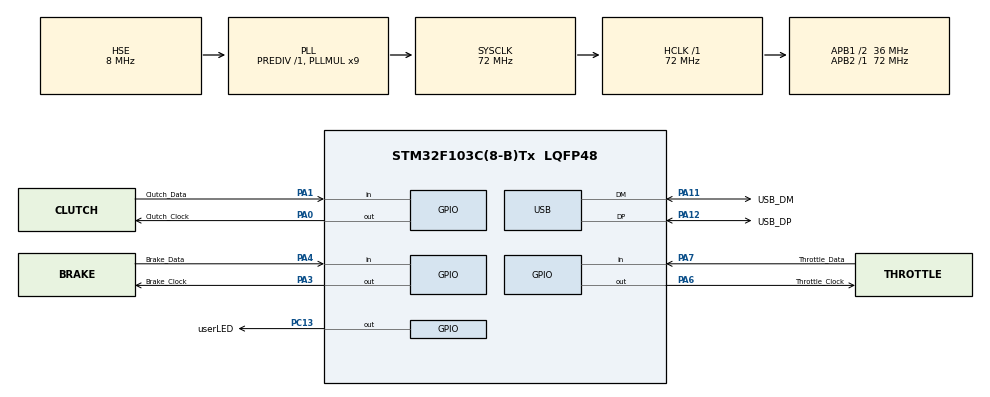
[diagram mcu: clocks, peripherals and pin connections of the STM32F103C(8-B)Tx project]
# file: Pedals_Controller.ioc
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Mcu.Family=STM32F1
Mcu.Name=STM32F103C(8-B)Tx
Mcu.Package=LQFP48
NVIC.PriorityGroup=NVIC_PRIORITYGROUP_4
NVIC.USB_HP_CAN1_TX_IRQn=true\:0\:0\:false\:false\:true\:true\:true\:true
NVIC.USB_LP_CAN1_RX0_IRQn=true\:0\:0\:false\:false\:true\:true\:true\:true
PA0-WKUP.GPIO_Label=Clutch_Clock
PA0-WKUP.Signal=GPIO_Output
PA1.GPIO_Label=Clutch_Data
PA1.Signal=GPIO_Input
PA11.GPIO_Label=USB_DM
PA11.Mode=Device
PA11.Signal=USB_DM
PA12.GPIO_Label=USB_DP
PA12.Mode=Device
PA12.Signal=USB_DP
PA13.Mode=Trace_Asynchronous_SW
PA13.Signal=SYS_JTMS-SWDIO
PA14.Mode=Trace_Asynchronous_SW
PA14.Signal=SYS_JTCK-SWCLK
PA3.GPIO_Label=Brake_Clock
PA3.Signal=GPIO_Output
PA4.GPIO_Label=Brake_Data
PA4.Signal=GPIO_Input
PA6.GPIO_Label=Throttle_Clock
PA6.Signal=GPIO_Output
PA7.GPIO_Label=Throttle_Data
PA7.Signal=GPIO_Input
PB3.Mode=Trace_Asynchronous_SW
PB3.Signal=SYS_JTDO-TRACESWO
PC13-TAMPER-RTC.GPIO_Label=userLED
PC13-TAMPER-RTC.GPIO_PuPd=GPIO_PULLUP
PC13-TAMPER-RTC.GPIO_Speed=GPIO_SPEED_FREQ_HIGH
PC13-TAMPER-RTC.Signal=GPIO_Output
PD0-OSC_IN.Mode=HSE-External-Oscillator
PD0-OSC_IN.Signal=RCC_OSC_IN
PD1-OSC_OUT.Mode=HSE-External-Oscillator
PD1-OSC_OUT.Signal=RCC_OSC_OUT
ProjectManager.HeapSize=0x300
ProjectManager.StackSize=0x600
ProjectManager.TargetToolchain=STM32CubeIDE
RCC.AHBFreq_Value=72000000
RCC.APB1CLKDivider=RCC_HCLK_DIV2
RCC.APB1Freq_Value=36000000
RCC.APB1TimFreq_Value=72000000
RCC.APB2Freq_Value=72000000
RCC.APB2TimFreq_Value=72000000
RCC.HCLKFreq_Value=72000000
RCC.PLLMUL=RCC_PLL_MUL9
RCC.PLLSourceVirtual=RCC_PLLSOURCE_HSE
RCC.SYSCLKFreq_VALUE=72000000
RCC.SYSCLKSource=RCC_SYSCLKSOURCE_PLLCLK
RCC.USBFreq_Value=48000000
RCC.USBPrescaler=RCC_USBCLKSOURCE_PLL_DIV1_5
board=custom

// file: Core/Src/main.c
/* USER CODE BEGIN Header */
/**
 ******************************************************************************
 * @file           : main.c
 * @brief          : Main program body
 ******************************************************************************
 * @attention
 *
 * Copyright (c) 2025 STMicroelectronics.
 * All rights reserved.
 *
 * This software is licensed under terms that can be found in the LICENSE file
 * in the root directory of this software component.
 * If no LICENSE file comes with this software, it is provided AS-IS.
 *
 ******************************************************************************
 */
/* USER CODE END Header */
#include "main.h"

/* USER CODE BEGIN Includes */
#include <stdlib.h>
#include <stdio.h>
#include <string.h>
#include <ctype.h>
#include <stdbool.h>

#include "tusb.h"
#include "tusb_config.h"
//#include "tusb_types.h"
#include "usb_descriptors.h"

/* USER CODE END Includes */

/* USER CODE BEGIN PM */
enum {
	ITF_KEYBOARD = 0, ITF_MOUSE = 1
};

/* Blink pattern
 * - 250 ms  : device not mounted
 * - 1000 ms : device mounted
 * - 2500 ms : device is suspended
 */
enum {
	BLINK_NOT_MOUNTED = 100, BLINK_MOUNTED = 500, BLINK_SUSPENDED = 250,
};

/* USER CODE END PM */

PCD_HandleTypeDef hpcd_USB_FS;

/* USER CODE BEGIN PV */
static uint32_t blink_interval_ms = BLINK_NOT_MOUNTED;
// Buffer to store the serial ID as a string
char serial_str[26]; // 24 chars + null terminator
/* USER CODE END PV */

void SystemClock_Config(void);
static void MX_GPIO_Init(void);
static void MX_USB_PCD_Init(void);
/* USER CODE BEGIN PFP */
static void echo_serial_port(uint8_t itf, uint8_t buf[], uint32_t count);
static void cdc_task(void);
void led_blinking_task(void);
void hid_task(void);
void get_serial_id_string(void);
void LL_USB_InitPeriph(void);
/* USER CODE END PFP */

/* USER CODE BEGIN 0 */

int _write(int le, char *ptr, int len)
{
	for (int DataIdx = 0; DataIdx < len; DataIdx++)
	{
		ITM_SendChar(*ptr++);
	}
	return len;
}

/* USER CODE END 0 */

int main(void)
{

  /* MCU Configuration--------------------------------------------------------*/

  /* Reset of all peripherals, Initializes the Flash interface and the Systick. */
  HAL_Init();

  /* Configure the system clock */
  SystemClock_Config();

  /* Initialize all configured peripherals */
  MX_GPIO_Init();
  MX_USB_PCD_Init();
  /* USER CODE BEGIN 2 */
	tusb_rhport_init_t dev_init = { .role = TUSB_ROLE_DEVICE, .speed =
			TUSB_SPEED_AUTO };
//  LL_USB_InitPeriph();
  get_serial_id_string();
	tusb_init(BOARD_TUD_RHPORT, &dev_init);

  /* USER CODE END 2 */

  /* Infinite loop */
  /* USER CODE BEGIN WHILE */
	printf(serial_str);

	while (1) {
		tud_task();
		cdc_task();
		led_blinking_task();
		hid_task();
    /* USER CODE END WHILE */

	}
}

void SystemClock_Config(void)
{
  RCC_OscInitTypeDef RCC_OscInitStruct = {0};
  RCC_ClkInitTypeDef RCC_ClkInitStruct = {0};
  RCC_PeriphCLKInitTypeDef PeriphClkInit = {0};

  /** Initializes the RCC Oscillators according to the specified parameters
  * in the RCC_OscInitTypeDef structure.
  */
  RCC_OscInitStruct.OscillatorType = RCC_OSCILLATORTYPE_HSE;
  RCC_OscInitStruct.HSEState = RCC_HSE_ON;
  RCC_OscInitStruct.HSEPredivValue = RCC_HSE_PREDIV_DIV1;
  RCC_OscInitStruct.HSIState = RCC_HSI_ON;
  RCC_OscInitStruct.PLL.PLLState = RCC_PLL_ON;
  RCC_OscInitStruct.PLL.PLLSource = RCC_PLLSOURCE_HSE;
  RCC_OscInitStruct.PLL.PLLMUL = RCC_PLL_MUL9;
  if (HAL_RCC_OscConfig(&RCC_OscInitStruct) != HAL_OK)
  {
    Error_Handler();
  }

  /** Initializes the CPU, AHB and APB buses clocks
  */
  RCC_ClkInitStruct.ClockType = RCC_CLOCKTYPE_HCLK|RCC_CLOCKTYPE_SYSCLK
                              |RCC_CLOCKTYPE_PCLK1|RCC_CLOCKTYPE_PCLK2;
  RCC_ClkInitStruct.SYSCLKSource = RCC_SYSCLKSOURCE_PLLCLK;
  RCC_ClkInitStruct.AHBCLKDivider = RCC_SYSCLK_DIV1;
  RCC_ClkInitStruct.APB1CLKDivider = RCC_HCLK_DIV2;
  RCC_ClkInitStruct.APB2CLKDivider = RCC_HCLK_DIV1;

  if (HAL_RCC_ClockConfig(&RCC_ClkInitStruct, FLASH_LATENCY_2) != HAL_OK)
  {
    Error_Handler();
  }
  PeriphClkInit.PeriphClockSelection = RCC_PERIPHCLK_USB;
  PeriphClkInit.UsbClockSelection = RCC_USBCLKSOURCE_PLL_DIV1_5;
  if (HAL_RCCEx_PeriphCLKConfig(&PeriphClkInit) != HAL_OK)
  {
    Error_Handler();
  }
}

static void MX_USB_PCD_Init(void)
{

  hpcd_USB_FS.Instance = USB;
  hpcd_USB_FS.Init.dev_endpoints = 8;
  hpcd_USB_FS.Init.speed = PCD_SPEED_FULL;
  hpcd_USB_FS.Init.low_power_enable = DISABLE;
  hpcd_USB_FS.Init.lpm_enable = DISABLE;
  hpcd_USB_FS.Init.battery_charging_enable = DISABLE;
  if (HAL_PCD_Init(&hpcd_USB_FS) != HAL_OK)
  {
    Error_Handler();
  }

}

static void MX_GPIO_Init(void)
{
  LL_GPIO_InitTypeDef GPIO_InitStruct = {0};

  /* GPIO Ports Clock Enable */
  LL_APB2_GRP1_EnableClock(LL_APB2_GRP1_PERIPH_GPIOC);
  LL_APB2_GRP1_EnableClock(LL_APB2_GRP1_PERIPH_GPIOD);
  LL_APB2_GRP1_EnableClock(LL_APB2_GRP1_PERIPH_GPIOA);
  LL_APB2_GRP1_EnableClock(LL_APB2_GRP1_PERIPH_GPIOB);

  /**/
  LL_GPIO_ResetOutputPin(userLED_GPIO_Port, userLED_Pin);

  /**/
  LL_GPIO_ResetOutputPin(GPIOA, Clutch_Clock_Pin|Brake_Clock_Pin|Throttle_Clock_Pin);

  /**/
  GPIO_InitStruct.Pin = userLED_Pin;
  GPIO_InitStruct.Mode = LL_GPIO_MODE_OUTPUT;
  GPIO_InitStruct.Speed = LL_GPIO_SPEED_FREQ_HIGH;
  GPIO_InitStruct.OutputType = LL_GPIO_OUTPUT_PUSHPULL;
  GPIO_InitStruct.Pull = LL_GPIO_PULL_UP;
  LL_GPIO_Init(userLED_GPIO_Port, &GPIO_InitStruct);

  /**/
  GPIO_InitStruct.Pin = Clutch_Clock_Pin|Brake_Clock_Pin|Throttle_Clock_Pin;
  GPIO_InitStruct.Mode = LL_GPIO_MODE_OUTPUT;
  GPIO_InitStruct.Speed = LL_GPIO_SPEED_FREQ_LOW;
  GPIO_InitStruct.OutputType = LL_GPIO_OUTPUT_PUSHPULL;
  LL_GPIO_Init(GPIOA, &GPIO_InitStruct);

  /**/
  GPIO_InitStruct.Pin = Clutch_Data_Pin|Brake_Data_Pin|Throttle_Data_Pin;
  GPIO_InitStruct.Mode = LL_GPIO_MODE_FLOATING;
  LL_GPIO_Init(GPIOA, &GPIO_InitStruct);

}

/* USER CODE BEGIN 4 */
// echo to either Serial0 or Serial1
// with Serial0 as all lower case, Serial1 as all upper case
static void echo_serial_port(uint8_t itf, uint8_t buf[], uint32_t count) {
	for (uint32_t i = 0; i < count; i++) {
		if (itf == 0) {
			// echo back 1st port as lower case
			if (isupper(buf[i]))
				buf[i] += 'a' - 'A';
		} else {
			// echo back 2nd port as upper case
			if (islower(buf[i]))
				buf[i] -= 'a' - 'A';
		}

		tud_cdc_n_write_char(itf, buf[i]);
	}
	tud_cdc_n_write_flush(itf);
}

//--------------------------------------------------------------------+
// USB CDC
//--------------------------------------------------------------------+
static void cdc_task(void) {
	uint8_t itf;

	for (itf = 0; itf < CFG_TUD_CDC; itf++) {
		// connected() check for DTR bit
		// Most but not all terminal client set this when making connection
		// if ( tud_cdc_n_connected(itf) )
		{
			if (tud_cdc_n_available(itf)) {
				uint8_t buf[64];

				uint32_t count = tud_cdc_n_read(itf, buf, sizeof(buf));

				// echo back to both serial ports
				echo_serial_port(0, buf, count);
//        echo_serial_port(1, buf, count);
			}
		}
	}
}

// Invoked when device is mounted
void tud_mount_cb(void) {
	blink_interval_ms = BLINK_MOUNTED;
}

// Invoked when device is unmounted
void tud_umount_cb(void) {
	blink_interval_ms = BLINK_NOT_MOUNTED;
}

// Invoked when usb bus is suspended
// remote_wakeup_en : if host allow us  to perform remote wakeup
// Within 7ms, device must draw an average of current less than 2.5 mA from bus
void tud_suspend_cb(bool remote_wakeup_en) {
	(void) remote_wakeup_en;
	blink_interval_ms = BLINK_SUSPENDED;
}

// Invoked when usb bus is resumed
void tud_resume_cb(void) {
	blink_interval_ms = tud_mounted() ? BLINK_MOUNTED : BLINK_NOT_MOUNTED;
}

//--------------------------------------------------------------------+
// USB HID
//--------------------------------------------------------------------+

void hid_task(void) {
	// Poll every 10ms
	const uint32_t interval_ms = 10;
	static uint32_t start_ms = 0;

	if (HAL_GetTick() - start_ms < interval_ms)
		return; // not enough time
	start_ms += interval_ms;

	uint32_t const btn = 0;

	// Remote wakeup
	if (tud_suspended() && btn) {
		// Wake up host if we are in suspend mode
		// and REMOTE_WAKEUP feature is enabled by host
		tud_remote_wakeup();
	}

	/*------------- Keyboard -------------*/
	if (tud_hid_n_ready(ITF_KEYBOARD)) {
		// use to avoid send multiple consecutive zero report for keyboard
		static bool has_key = false;

		if (btn) {
			uint8_t keycode[6] = { 0 };
			keycode[0] = HID_KEY_A;

			tud_hid_n_keyboard_report(ITF_KEYBOARD, 0, 0, keycode);

			has_key = true;
		} else {
			// send empty key report if previously has key pressed
			if (has_key)
				tud_hid_n_keyboard_report(ITF_KEYBOARD, 0, 0, NULL);
			has_key = false;
		}
	}

	/*------------- Mouse -------------*/
	if (tud_hid_n_ready(ITF_MOUSE)) {
		if (btn) {
			int8_t const delta = 5;

			// no button, right + down, no scroll pan
			tud_hid_n_mouse_report(ITF_MOUSE, 0, 0x00, delta, delta, 0, 0);
		}
	}
}

// Invoked when received GET_REPORT control request
// Application must fill buffer report's content and return its length.
// Return zero will cause the stack to STALL request
uint16_t tud_hid_get_report_cb(uint8_t itf, uint8_t report_id,
		hid_report_type_t report_type, uint8_t *buffer, uint16_t reqlen) {
	// TODO not Implemented
	(void) itf;
	(void) report_id;
	(void) report_type;
	(void) buffer;
	(void) reqlen;

	return 0;
}

// Invoked when received SET_REPORT control request or
// received data on OUT endpoint ( Report ID = 0, Type = 0 )
void tud_hid_set_report_cb(uint8_t itf, uint8_t report_id,
		hid_report_type_t report_type, uint8_t const *buffer, uint16_t bufsize) {
	// TODO set LED based on CAPLOCK, NUMLOCK etc...
	(void) itf;
	(void) report_id;
	(void) report_type;
	(void) buffer;
	(void) bufsize;
}

// Convert Serial ID to String
void get_serial_id_string(void) {
	unsigned int id1 = HAL_GetUIDw0();
	unsigned int id2 = HAL_GetUIDw1();
	unsigned int id3 = HAL_GetUIDw2();

	// Format: XXXXXXXXYYYYYYYYZZZZZZZZ (Hex format)
	snprintf(serial_str, sizeof(serial_str), "%08X%08X%08X\n", id1, id2, id3);
}

//--------------------------------------------------------------------+
// BLINKING TASK
//--------------------------------------------------------------------+
void led_blinking_task(void) {
	static uint32_t start_ms = 0;
//  static bool led_state = false;

	// Blink every interval ms
	if (HAL_GetTick() - start_ms < blink_interval_ms)
		return; // not enough time
	start_ms += blink_interval_ms;

//  board_led_write(led_state);
	LL_GPIO_TogglePin(userLED_GPIO_Port, userLED_Pin);
//  led_state = 1 - led_state; // toggle
}

void LL_USB_InitPeriph(void) // hand-made function
{
	LL_RCC_SetUSBClockSource(LL_RCC_USB_CLKSOURCE_PLL_DIV_1_5);
	LL_APB1_GRP1_EnableClock(LL_APB1_GRP1_PERIPH_USB);

	LL_APB2_GRP1_EnableClock(LL_APB2_GRP1_PERIPH_GPIOA);

	LL_GPIO_InitTypeDef GPIO_InitStruct = { 0 };
	GPIO_InitStruct.Pin = USB_DM_Pin | USB_DP_Pin;
	GPIO_InitStruct.Mode = LL_GPIO_MODE_ALTERNATE;
	GPIO_InitStruct.Speed = LL_GPIO_SPEED_FREQ_HIGH;
	LL_GPIO_Init(USB_DM_GPIO_Port, &GPIO_InitStruct);

	NVIC_SetPriority(USB_HP_CAN1_TX_IRQn,
			NVIC_EncodePriority(NVIC_GetPriorityGrouping(), 0, 0));
	NVIC_SetPriority(USB_LP_CAN1_RX0_IRQn,
			NVIC_EncodePriority(NVIC_GetPriorityGrouping(), 1, 0));

	NVIC_EnableIRQ(USB_HP_CAN1_TX_IRQn);
	NVIC_EnableIRQ(USB_LP_CAN1_RX0_IRQn);
}

/* USER CODE END 4 */

void Error_Handler(void)
{
	__disable_irq();
	while (1) {
	}
}
